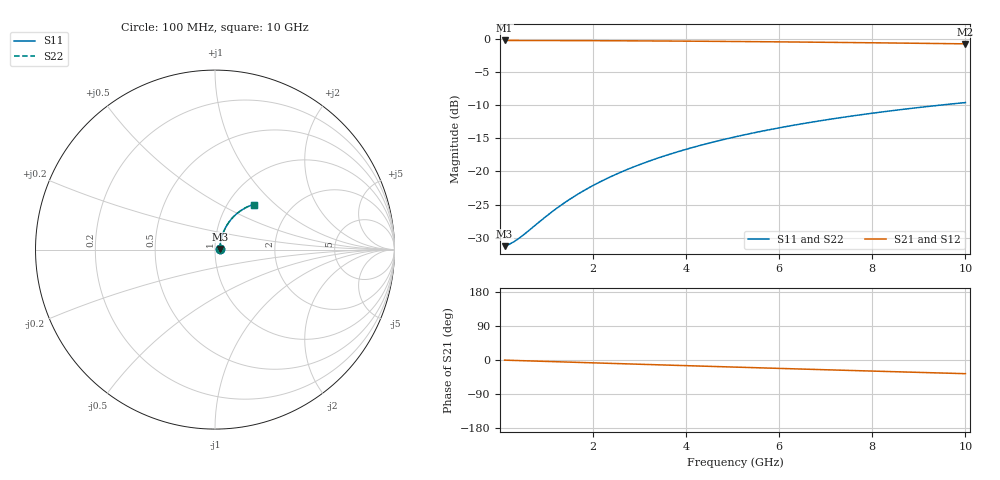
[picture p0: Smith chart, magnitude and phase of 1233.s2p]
# Hz S RI R 50.00
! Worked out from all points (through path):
!   100 points, 100 MHz to 10 GHz, reference 50 ohm
!   highest |S21| = -0.24 dB at 100 MHz (marker M1); lowest = -0.7 dB at 10 GHz (marker M2)
!   group delay of S21, straight-line fit = 10 ps
!   lowest |S11| = -31.3 dB at 100 MHz (marker M3), VSWR 1.06, Z = 52.8 + j0.37 ohm
!   |S11| at or under -10 dB: start of sweep to 9.458 GHz
!   |S22| runs from -31.3 to -9.6 dB; largest |S21 - S12| = 0
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1e8  0.0271 0.0035  0.9729 -0.00637  0.9729 -0.00637  0.0271 0.0035
2e8  0.0273 0.00699  0.9727 -0.0127  0.9727 -0.0127  0.0273 0.00699
3e8  0.0276 0.0105  0.9724 -0.0191  0.9724 -0.0191  0.0276 0.0105
4e8  0.0278 0.014  0.9721 -0.0255  0.9721 -0.0255  0.0278 0.014
6e8  0.0284 0.0209  0.9714 -0.0382  0.9714 -0.0382  0.0284 0.0209
1e9  0.0302 0.0348  0.9694 -0.0635  0.9694 -0.0635  0.0302 0.0348
1.2e9  0.0313 0.0417  0.9681 -0.0762  0.9681 -0.0762  0.0313 0.0417
1.5e9  0.0332 0.0519  0.9658 -0.0951  0.9658 -0.0951  0.0332 0.0519
1.8e9  0.0356 0.0621  0.963 -0.1139  0.963 -0.1139  0.0356 0.0621
2.1e9  0.0383 0.0721  0.9598 -0.1325  0.9598 -0.1325  0.0383 0.0721
2.5e9  0.0426 0.0853  0.9547 -0.1572  0.9547 -0.1572  0.0426 0.0853
2.9e9  0.0475 0.0982  0.9489 -0.1817  0.9489 -0.1817  0.0475 0.0982
3.4e9  0.0545 0.1139  0.9405 -0.2118  0.9405 -0.2118  0.0545 0.1139
3.8e9  0.0608 0.1261  0.933 -0.2355  0.933 -0.2355  0.0608 0.1261
4.2e9  0.0678 0.1379  0.9247 -0.2588  0.9247 -0.2588  0.0678 0.1379
4.6e9  0.0752 0.1493  0.9157 -0.2817  0.9157 -0.2817  0.0752 0.1493
5.1e9  0.0853 0.1628  0.9036 -0.3097  0.9036 -0.3097  0.0853 0.1628
5.9e9  0.1031 0.183  0.8821 -0.353  0.8821 -0.353  0.1031 0.183
6.7e9  0.1225 0.201  0.8582 -0.3942  0.8582 -0.3942  0.1225 0.201
7.5e9  0.1435 0.2168  0.8324 -0.4332  0.8324 -0.4332  0.1435 0.2168
8.4e9  0.1684 0.2319  0.8012 -0.4743  0.8012 -0.4743  0.1684 0.2319
1e10  0.2151 0.2512  0.7414 -0.5402  0.7414 -0.5402  0.2151 0.2512
